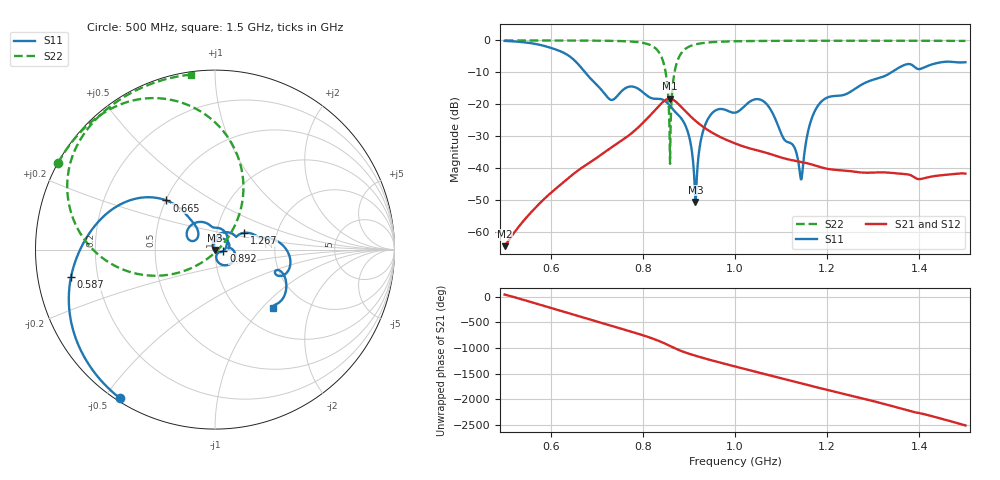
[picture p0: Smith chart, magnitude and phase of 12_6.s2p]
! TOUCHSTONE file generated by CST MICROWAVE STUDIO
! Date and time: Fri Oct  2 18:56:10 2020
! Project name: Scenario_1_Free_Space_out_of_line.cst
! Parameters = {Lambda=346.42; Step_1=17.321; dy1=156.889; dx1=1039; L_HA=400; MT=2.54; Rad_Dielectric=30; Rad_Lower=7.3; Rad_Upper=30; a_HA=580; a_WG=246; b_HA=500; b_WG=121; c_HA=0; c_WG=187; d_feed=85; h_feed=15; h_lower=18; h_upper=40}
! Header version: 2018
! Port assignment regex: !\s*Touchstone port\s*([0-9]+)\s*=\s*(CST MWS port|CST DS port)\s*([0-9]+|Zmin|Zmax)\s*\(\"(.*)\"\)(\s*mode\s*([0-9]+))?.*
! Touchstone port assignment:
! Touchstone port 1 = CST MWS port 1 ("")
! Touchstone port 2 = CST MWS port 2 ("")
# GHz S DB R 50
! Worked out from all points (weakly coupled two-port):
!   1003 points, 500 MHz to 1.5 GHz, reference 50 ohm
!   highest |S21| = -18.25 dB at 858 MHz (marker M1); lowest = -64.3 dB at 500 MHz (marker M2)
!   lowest |S11| = -50.5 dB at 914 MHz (marker M3), VSWR 1.01, Z = 49.8 - j0.241 ohm
!   |S11| at or under -10 dB: 674.8 MHz to 1.339 GHz (664.4 MHz wide, 66 % of centre)
!   |S22| runs from -38.6 to 0.0 dB; largest |S21 - S12| = 1.8e-05
!   S11 on the Smith chart (normalised r, x): 500 MHz: 0.01, -0.55; 587 MHz: 0.10, -0.09; 665 MHz: 0.50, +0.32; 892 MHz: 1.10, -0.02; 1.267 GHz: 1.36, +0.26; 1.5 GHz: 1.40, -1.15
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0.5  -0.15 -122.5  -64.33 43.6  -64.33 43.6  -0.01 151.1
0.587  -1.75 -169.2  -49.42 178.9  -49.42 178.8  -0.02 145.1
0.665  -8.30 134.7  -40.08 -29.3  -40.08 -29.3  -0.04 138.5
0.667  -8.64 133.7  -39.88 -34.6  -39.88 -34.6  -0.04 138.3
0.73  -18.54 144.1  -33.64 159.1  -33.64 159.1  -0.13 130.8
0.774  -14.40 138.3  -29.19 42.3  -29.19 42.3  -0.34 122.0
0.834  -18.26 83.0  -20.58 -137.0  -20.58 -137.0  -3.49 86.6
0.848  -18.91 60.9  -18.74 168.3  -18.74 168.3  -8.83 64.1
0.858  -20.34 44.2  -18.25 125.1  -18.24 125.1  -28.85 27.0
0.872  -22.61 25.9  -19.20 66.0  -19.20 66.0  -7.84 -159.3
0.892  -26.47 -8.7  -22.10 -4.3  -22.10 -4.3  -2.67 175.1
0.914  -50.55 -125.4  -25.11 -68.0  -25.11 -68.0  -1.25 160.9
0.928  -29.87 104.0  -26.71 -104.8  -26.71 -104.8  -0.86 155.3
0.943  -24.13 71.3  -28.19 -142.4  -28.19 -142.4  -0.62 150.9
1  -22.59 5.5  -32.20 82.3  -32.20 82.3  -0.26 140.3
1.065  -19.38 -54.4  -35.02 -68.0  -35.02 -68.0  -0.15 132.9
1.128  -33.20 -59.1  -37.56 149.3  -37.56 149.3  -0.11 127.3
1.143  -43.41 -138.2  -37.95 115.2  -37.95 115.2  -0.10 126.1
1.167  -24.20 91.8  -38.81 59.8  -38.81 59.8  -0.10 124.2
1.267  -14.51 29.8  -41.20 -159.3  -41.20 -159.3  -0.08 116.5
1.334  -10.46 12.5  -41.34 47.5  -41.34 47.5  -0.09 111.5
1.5  -6.81 -45.2  -41.65 13.6  -41.65 13.6  -0.14 97.9
